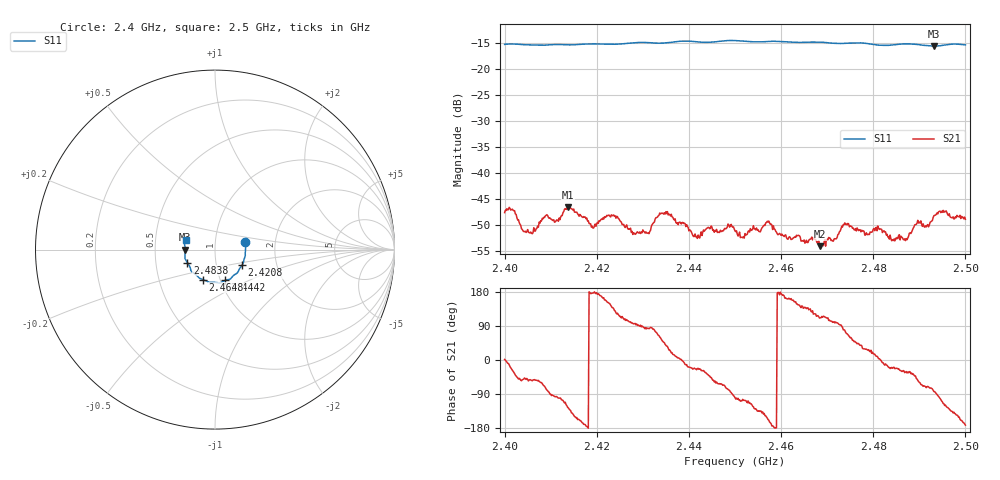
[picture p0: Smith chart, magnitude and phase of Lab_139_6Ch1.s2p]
# Hz S RI R 50
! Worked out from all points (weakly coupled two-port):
!   601 points, 2.4 GHz to 2.5 GHz, reference 50 ohm
!   highest |S21| = -46.58 dB at 2.4137 GHz (marker M1); lowest = -54.0 dB at 2.4685 GHz (marker M2)
!   lowest |S11| = -15.6 dB at 2.4932 GHz (marker M3), VSWR 1.40, Z = 35.8 - j0.0707 ohm
!   |S11| at or under -10 dB: start of sweep to end of sweep
!   S12 and S22 are empty: the file has one direction only
!   S11 on the Smith chart (normalised r, x): 2.4 GHz: 1.40, +0.12; 2.4208 GHz: 1.33, -0.24; 2.4442 GHz: 1.05, -0.37; 2.4648 GHz: 0.83, -0.29; 2.4838 GHz: 0.73, -0.11; 2.5 GHz: 0.72, +0.08
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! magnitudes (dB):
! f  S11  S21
! 2.4 GHz  -15.3  -47.6
! 2.4057 GHz  -15.4  -51.3
! 2.4137 GHz  -15.3  -46.6
! 2.4167 GHz  -15.2  -48.3
! 2.4208 GHz  -15.2  -49.0
! 2.424 GHz  -15.2  -48.2
! 2.4308 GHz  -14.9  -51.5
! 2.4333 GHz  -15.0  -48.2
! 2.4413 GHz  -14.7  -51.7
! 2.4442 GHz  -14.9  -50.4
! 2.45 GHz  -14.5  -51.1
! 2.4517 GHz  -14.6  -52.4
! 2.4572 GHz  -14.7  -49.4
! 2.4648 GHz  -14.9  -53.1
! 2.4667 GHz  -14.8  -52.3
! 2.4685 GHz  -14.8  -54.0
! 2.4742 GHz  -15.1  -49.8
! 2.4833 GHz  -15.5  -52.2
! 2.4838 GHz  -15.4  -52.6
! 2.487 GHz  -15.2  -53.0
! 2.4932 GHz  -15.6  -48.2
! 2.5 GHz  -15.4  -48.9
